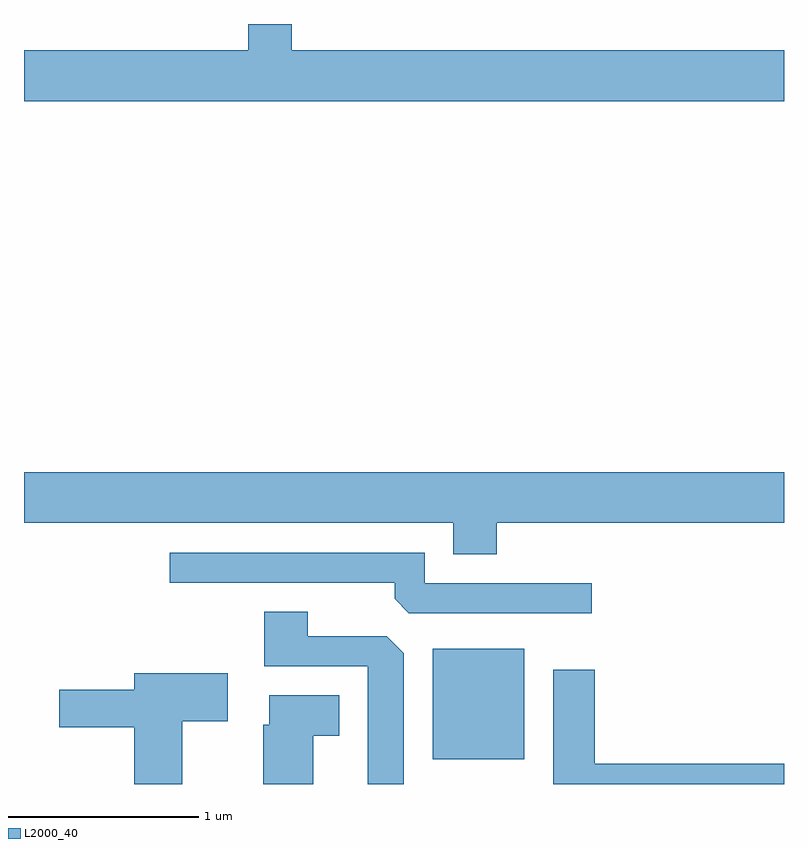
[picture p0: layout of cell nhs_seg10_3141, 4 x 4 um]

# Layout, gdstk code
import gdstk
lib = gdstk.Library(unit=1e-6, precision=1e-09)
def R(c, l, rs):  # rectangles x0, y0, x1, y1
    for r in rs: c.add(gdstk.rectangle(r[:2], r[2:], *l))
def P(c, l, *ps):  # polygons
    for p in ps: c.add(gdstk.Polygon(p, *l))
L2000_40 = (2000, 40)

nhs_seg10_3141 = lib.new_cell('nhs_seg10_3141')
R(nhs_seg10_3141, L2000_40, [(279.761,2132.651,280.244,2133.234)])
P(nhs_seg10_3141, L2000_40, [(281.611,2136.384),(279.019,2136.384),(279.019,2136.522),(278.791,2136.522),(278.791,2136.384),(277.611,2136.384),(277.611,2136.116),(281.611,2136.116)],
  [(280.099,2133.896),(281.611,2133.896),(281.611,2134.164),(277.611,2134.164),(277.611,2133.896),(279.871,2133.896),(279.871,2133.731),(280.099,2133.731)],
  [(280.598,2133.579),(279.719,2133.579),(279.719,2133.739),(278.378,2133.739),(278.378,2133.581),(279.561,2133.581),(279.561,2133.497),(279.637,2133.421),(280.598,2133.421)],
  [(279.609,2133.209),(279.519,2133.299),(279.104,2133.299),(279.104,2133.429),(278.876,2133.429),(278.876,2133.141),(279.421,2133.141),(279.421,2132.522),(279.609,2132.522)],
  [(281.611,2132.629),(280.614,2132.629),(280.614,2133.124),(280.396,2133.124),(280.396,2132.522),(281.611,2132.522)],
  [(278.444,2132.851),(278.684,2132.851),(278.684,2133.104),(278.191,2133.104),(278.191,2133.019),(277.796,2133.019),(277.796,2132.821),(278.191,2132.821),(278.191,2132.522),(278.444,2132.522)],
  [(279.134,2132.776),(279.269,2132.776),(279.269,2132.989),(278.901,2132.989),(278.901,2132.834),(278.871,2132.834),(278.871,2132.522),(279.134,2132.522)])

lib.write_gds('nhs_seg10_3141.gds')
